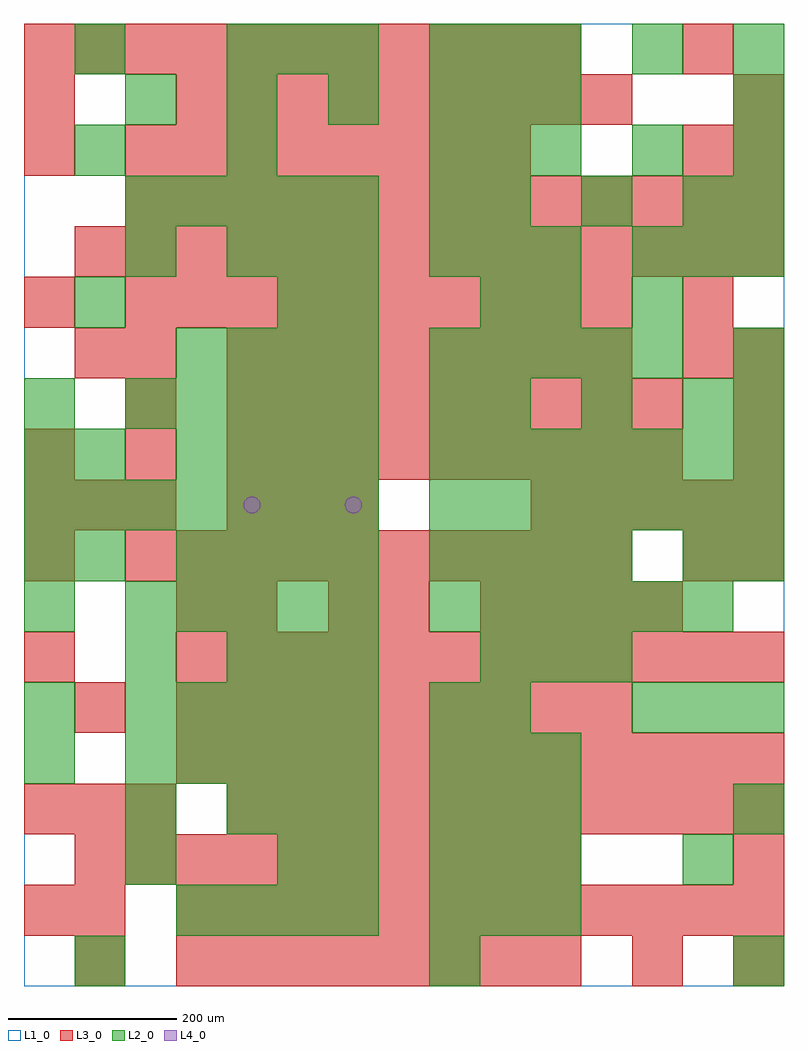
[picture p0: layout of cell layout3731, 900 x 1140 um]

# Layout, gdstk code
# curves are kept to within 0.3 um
import gdstk
lib = gdstk.Library(unit=1e-6, precision=1e-09)
def R(c, l, rs):  # rectangles x0, y0, x1, y1
    for r in rs: c.add(gdstk.rectangle(r[:2], r[2:], *l))
def A(c, l, x, y, w, h, nx, ny, dx, dy):  # array of equal rectangles
    R(c, l, [(x+i*dx, y+j*dy, x+i*dx+w, y+j*dy+h) for i in range(nx) for j in range(ny)])
def P(c, l, *ps):  # polygons
    for p in ps: c.add(gdstk.Polygon(p, *l))
L1_0 = (1, 0)
L2_0 = (2, 0)
L3_0 = (3, 0)
L4_0 = (4, 0)

layout3731 = lib.new_cell('layout3731')
R(layout3731, L1_0, [(0,0,900,1140)])
A(layout3731, L2_0, 180, 60, 60, 60, 4, 2, 60, 420)
A(layout3731, L2_0, 480, 60, 60, 60, 3, 4, 60, 60)
A(layout3731, L2_0, 240, 180, 60, 60, 3, 2, 60, 180)
A(layout3731, L2_0, 120, 240, 60, 60, 5, 2, 60, 60)
A(layout3731, L2_0, 720, 300, 60, 60, 3, 2, 60, 540)
A(layout3731, L2_0, 540, 360, 60, 60, 3, 1, 60, 0)
A(layout3731, L2_0, 120, 420, 60, 60, 5, 3, 60, 240)
A(layout3731, L2_0, 480, 420, 60, 60, 6, 1, 60, 0)
A(layout3731, L2_0, 480, 480, 60, 60, 4, 1, 60, 0)
A(layout3731, L2_0, 0, 540, 60, 60, 7, 1, 60, 0)
A(layout3731, L2_0, 480, 540, 60, 60, 7, 2, 60, 60)
A(layout3731, L2_0, 60, 600, 60, 60, 1, 3, 0, 180)
A(layout3731, L2_0, 180, 600, 60, 60, 4, 2, 60, 120)
A(layout3731, L2_0, 540, 660, 60, 60, 3, 2, 120, 240)
A(layout3731, L2_0, 480, 720, 60, 60, 5, 1, 60, 0)
A(layout3731, L2_0, 240, 840, 60, 60, 3, 2, 60, 240)
A(layout3731, L2_0, 480, 840, 60, 60, 3, 3, 60, 120)
A(layout3731, L2_0, 840, 900, 60, 60, 1, 4, 0, 60)
A(layout3731, L2_0, 120, 1020, 60, 60, 4, 1, 120, 0)
R(layout3731, L2_0, [(60,0,120,60), (480,0,540,60), (840,0,900,60), (120,120,180,180), (300,120,360,180), (360,120,420,180), (780,120,840,180), (120,180,180,240), (840,180,900,240), (0,240,60,300), (0,300,60,360), (480,300,540,360), (540,300,600,360), (120,360,180,420), (0,420,60,480), (0,480,60,540), (60,480,120,540), (780,480,840,540), (840,480,900,540), (0,600,60,660), (0,660,60,720), (480,660,540,720), (840,660,900,720), (840,720,900,780), (300,780,360,840), (360,780,420,840), (540,780,600,840), (600,780,660,840), (720,780,780,840), (120,840,180,900), (480,900,540,960), (240,960,300,1020), (720,960,780,1020), (540,1020,600,1080), (600,1020,660,1080), (60,1080,120,1140), (720,1080,780,1140)])
A(layout3731, L3_0, 180, 0, 60, 60, 8, 1, 60, 0)
A(layout3731, L3_0, 180, 60, 60, 60, 12, 2, 60, 180)
A(layout3731, L3_0, 60, 120, 60, 60, 10, 1, 60, 0)
A(layout3731, L3_0, 0, 180, 60, 60, 3, 2, 60, 360)
A(layout3731, L3_0, 240, 180, 60, 60, 11, 1, 60, 0)
A(layout3731, L3_0, 180, 300, 60, 60, 9, 2, 60, 720)
A(layout3731, L3_0, 180, 360, 60, 60, 12, 1, 60, 0)
A(layout3731, L3_0, 540, 420, 60, 60, 4, 1, 60, 0)
A(layout3731, L3_0, 120, 480, 60, 60, 10, 2, 60, 300)
A(layout3731, L3_0, 240, 540, 60, 60, 3, 1, 60, 0)
A(layout3731, L3_0, 600, 540, 60, 60, 5, 1, 60, 0)
A(layout3731, L3_0, 0, 600, 60, 60, 3, 1, 120, 0)
A(layout3731, L3_0, 300, 600, 60, 60, 8, 1, 60, 0)
A(layout3731, L3_0, 840, 600, 60, 60, 1, 3, 0, 60)
A(layout3731, L3_0, 240, 660, 60, 60, 9, 1, 60, 0)
A(layout3731, L3_0, 240, 720, 60, 60, 8, 1, 60, 0)
A(layout3731, L3_0, 60, 840, 60, 60, 14, 1, 60, 0)
A(layout3731, L3_0, 120, 900, 60, 60, 13, 1, 60, 0)
A(layout3731, L3_0, 120, 960, 60, 60, 8, 1, 60, 0)
A(layout3731, L3_0, 0, 1080, 60, 60, 11, 1, 60, 0)
R(layout3731, L3_0, [(60,0,120,60), (720,0,780,60), (840,0,900,60), (0,60,60,120), (60,60,120,120), (840,120,900,180), (60,300,120,360), (0,360,60,420), (180,420,240,480), (240,420,300,480), (360,420,420,480), (420,420,480,480), (0,480,60,540), (780,480,840,540), (840,480,900,540), (120,660,180,720), (60,720,120,780), (120,720,180,780), (780,720,840,780), (0,780,60,840), (780,780,840,840), (0,960,60,1020), (780,960,840,1020), (840,960,900,1020), (0,1020,60,1080), (840,1020,900,1080), (780,1080,840,1140)])
P(layout3731, L4_0, [(280,570),(279.239,573.827),(277.071,577.071),(273.827,579.239),(270,580),(266.173,579.239),(262.929,577.071),(260.761,573.827),(260,570),(260.761,566.173),(262.929,562.929),(266.173,560.761),(270,560),(273.827,560.761),(277.071,562.929),(279.239,566.173)],
  [(400,570),(399.239,573.827),(397.071,577.071),(393.827,579.239),(390,580),(386.173,579.239),(382.929,577.071),(380.761,573.827),(380,570),(380.761,566.173),(382.929,562.929),(386.173,560.761),(390,560),(393.827,560.761),(397.071,562.929),(399.239,566.173)])

lib.write_gds('layout3731.gds')
